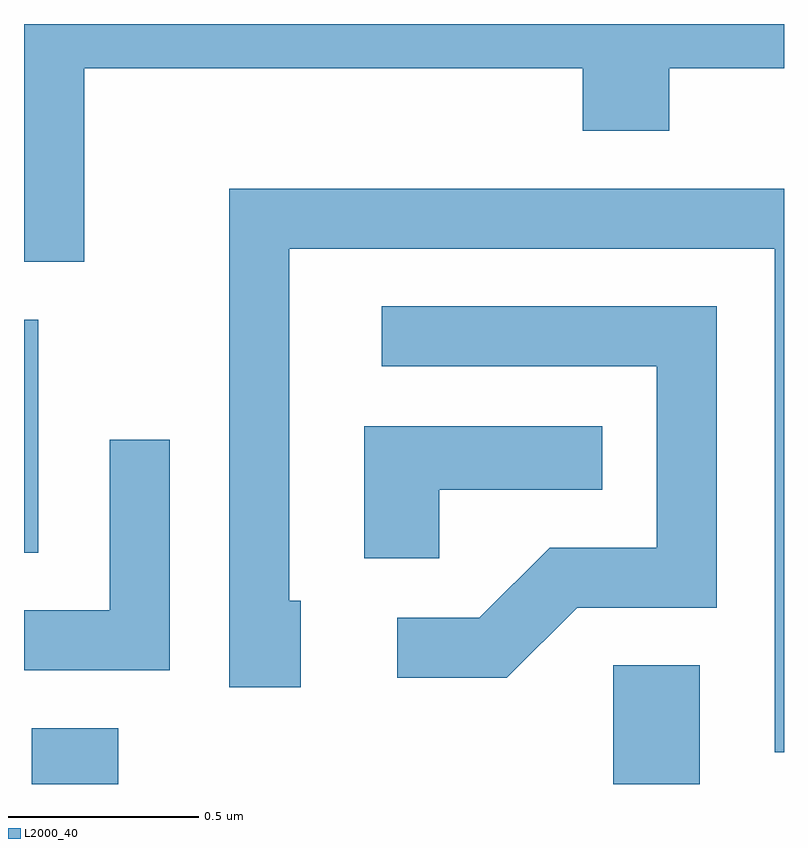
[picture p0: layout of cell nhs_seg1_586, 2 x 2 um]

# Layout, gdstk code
import gdstk
lib = gdstk.Library(unit=1e-6, precision=1e-09)
def R(c, l, rs):  # rectangles x0, y0, x1, y1
    for r in rs: c.add(gdstk.rectangle(r[:2], r[2:], *l))
def P(c, l, *ps):  # polygons
    for p in ps: c.add(gdstk.Polygon(p, *l))
L2000_40 = (2000, 40)

nhs_seg1_586 = lib.new_cell('nhs_seg1_586')
R(nhs_seg1_586, L2000_40, [(189.631,877.712,189.859,877.859), (191.161,877.712,191.389,878.024), (189.611,878.321,189.649,878.934)])
P(nhs_seg1_586, L2000_40, [(189.769,879.596),(191.081,879.596),(191.081,879.431),(191.309,879.431),(191.309,879.596),(191.611,879.596),(191.611,879.712),(189.611,879.712),(189.611,879.086),(189.769,879.086)],
  [(191.611,879.279),(190.151,879.279),(190.151,877.966),(190.339,877.966),(190.339,878.194),(190.309,878.194),(190.309,879.121),(191.586,879.121),(191.586,877.796),(191.611,877.796)],
  [(191.067,878.176),(191.434,878.176),(191.434,878.969),(190.553,878.969),(190.553,878.811),(191.276,878.811),(191.276,878.334),(190.994,878.334),(190.809,878.149),(190.593,878.149),(190.593,877.991),(190.882,877.991)],
  [(190.704,878.486),(191.133,878.486),(191.133,878.654),(190.506,878.654),(190.506,878.306),(190.704,878.306)],
  [(189.994,878.618),(189.836,878.618),(189.836,878.169),(189.611,878.169),(189.611,878.011),(189.994,878.011)])

lib.write_gds('nhs_seg1_586.gds')
